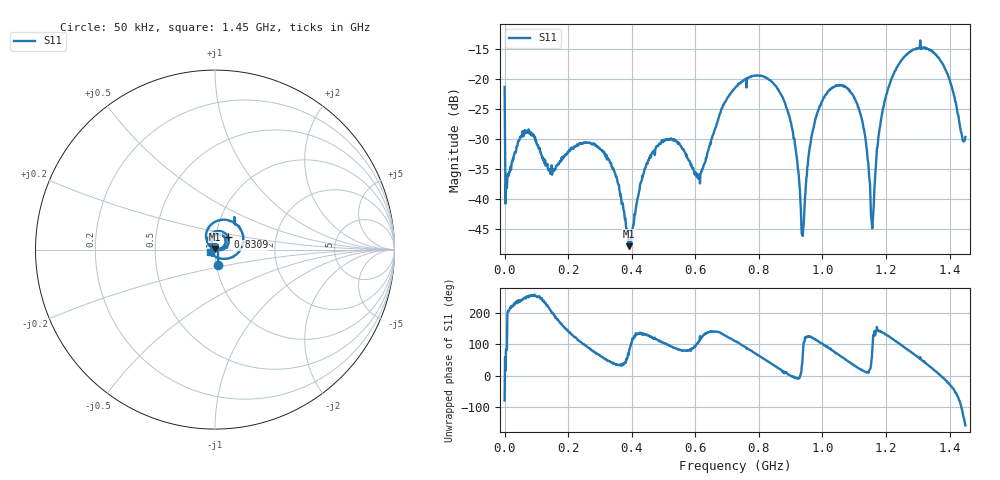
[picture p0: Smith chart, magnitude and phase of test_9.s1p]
! Created with skrf 1.11.0 (http://scikit-rf.org).
# Hz S RI R 50.0
!freq ReS11 ImS11
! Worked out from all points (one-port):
!   1001 points, 50 kHz to 1.45 GHz, reference 50 ohm
!   lowest |S11| = -48.0 dB at 390.1 MHz (marker M1), VSWR 1.01, Z = 50.2 + j0.367 ohm
!   |S11| at or under -10 dB: start of sweep to end of sweep
!   S11 on the Smith chart (normalised r, x): 50 kHz: 1.02, -0.17; 830.9 MHz: 1.14, +0.16; 1.45 GHz: 0.94, -0.02
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50000  0.0176 -0.0845
1.019965e7  -0.0147 -0.0066
6.819765e7  -0.0131 -0.0335
1.43595e8  -0.0145 -0.00791
1.812938e8  -0.0202 0.00661
2.856902e8  0.0079 0.0266
3.625375e8  0.00937 0.00652
3.900866e8  0.00163 0.00365
4.582342e8  -0.0135 0.0187
5.437812e8  0.00251 0.0294
6.133788e8  -0.00566 0.0146
6.844264e8  -0.0398 0.0416
7.25025e8  -0.029 0.0793
8.308714e8  0.0721 0.0694
8.743698e8  0.0691 0.0163
9.062688e8  0.0371 -0.00241
9.381676e8  0.00188 0.00448
9.628168e8  -0.0164 0.0242
9.903658e8  -0.0169 0.0554
1.039664e9  0.0232 0.084
1.087512e9  0.0589 0.053
1.128111e9  0.0397 0.0114
1.15711e9  0.000812 0.00557
1.177409e9  -0.027 0.0214
1.196259e9  -0.0452 0.0481
1.268756e9  0.0211 0.1624
1.371703e9  0.143 0.00298
1.45e9  -0.0304 -0.0126
